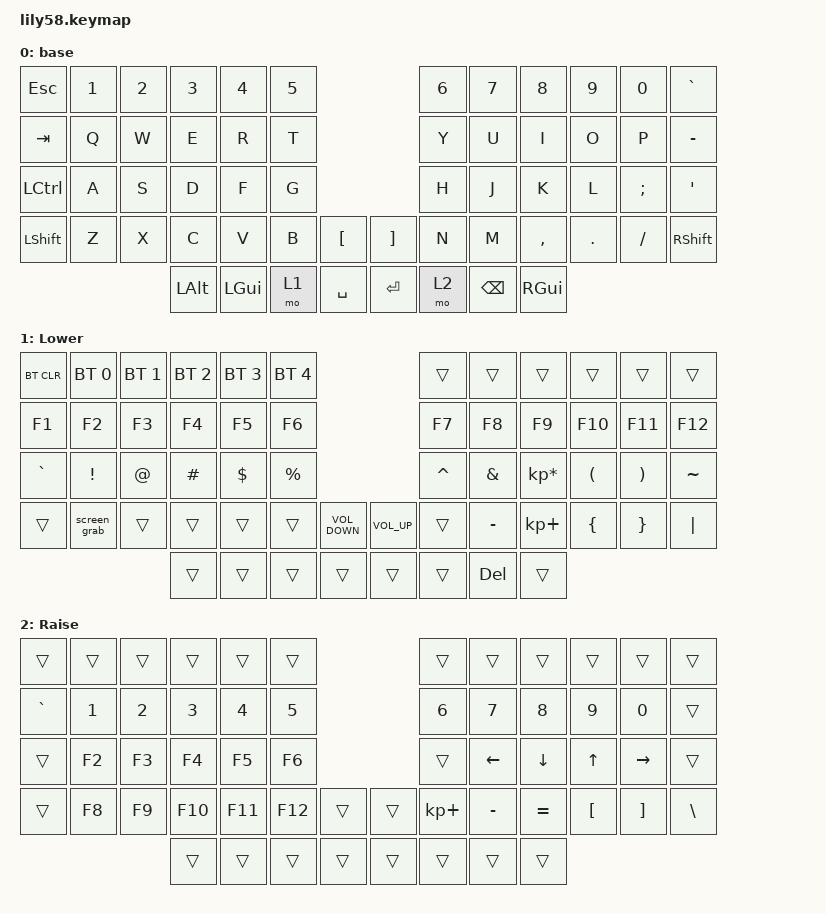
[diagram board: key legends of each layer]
/*
 * Copyright (c) 2020 The ZMK Contributors
 *
 * SPDX-License-Identifier: MIT
 */

#include <behaviors.dtsi>
#include <dt-bindings/zmk/bt.h>
#include <dt-bindings/zmk/keys.h>

/ {
    macros {
        screen_grab: screen_grab {
            compatible = "zmk,behavior-macro";
            #binding-cells = <0>;
            bindings = <&kp LG(LS(PRINTSCREEN))>;
            label = "SCREEN_GRAB";
        };
    };

    combos {
        compatible = "zmk,combos";

        dvorak_qwerty {
            bindings = <&tog 0>;
            key-positions = <51 52 55 56>;
        };
    };

    keymap {
        compatible = "zmk,keymap";

        DEFAULT_LAYER {
            bindings = <
&kp ESC    &kp N1  &kp N2  &kp N3    &kp N4    &kp N5                          &kp N6  &kp N7    &kp N8     &kp N9   &kp N0    &kp GRAVE
&kp TAB    &kp Q   &kp W   &kp E     &kp R     &kp T                           &kp Y   &kp U     &kp I      &kp O    &kp P     &kp MINUS
&kp LCTRL  &kp A   &kp S   &kp D     &kp F     &kp G                           &kp H   &kp J     &kp K      &kp L    &kp SEMI  &kp SQT
&kp LSHFT  &kp Z   &kp X   &kp C     &kp V     &kp B   &kp LBKT     &kp RBKT   &kp N   &kp M     &kp COMMA  &kp DOT  &kp FSLH  &kp RSHFT
                           &kp LALT  &kp LGUI  &mo 1   &kp SPACE    &kp ENTER  &mo 2   &kp BSPC  &kp RGUI
            >;

            label = "base";
        };

        lower_layer {
            // ------------------------------------------------------------------------------------------------------------
            // | BTCLR | BT1 | BT2 |  BT3 |  BT4 |  BT5 |                   |      |       |       |      |       |       |
            // |  F1   |  F2 |  F3 |  F4  |  F5  |  F6  |                   |  F7  |  F8   |  F9   |  F10 |  F11  |  F12  |
            // |   `   |  !  |  @  |  #   |  $   |  %   |                   |  ^   |  &    |  *    |  (   |   )   |   ~   |
            // |       |     |     |      |      |      |        |  |       |      |  _    |  +    |  {   |   }   |  "|"  |
            //                     |      |      |      |        |  |       |      |       |       |

            display-name = "Lower";
            bindings = <
&bt BT_CLR  &bt BT_SEL 0  &bt BT_SEL 1  &bt BT_SEL 2  &bt BT_SEL 3  &bt BT_SEL 4                                        &trans     &trans     &trans           &trans    &trans    &trans
&kp F1      &kp F2        &kp F3        &kp F4        &kp F5        &kp F6                                              &kp F7     &kp F8     &kp F9           &kp F10   &kp F11   &kp F12
&kp GRAVE   &kp EXCL      &kp AT        &kp HASH      &kp DOLLAR    &kp PRCNT                                           &kp CARET  &kp AMPS   &kp KP_MULTIPLY  &kp LPAR  &kp RPAR  &kp TILDE
&trans      &screen_grab  &trans        &trans        &trans        &trans        &kp C_VOLUME_DOWN    &kp C_VOLUME_UP  &trans     &kp MINUS  &kp KP_PLUS      &kp LBRC  &kp RBRC  &kp PIPE
                                        &trans        &trans        &trans        &trans               &trans           &trans     &kp DEL    &trans
            >;
        };

        raise_layer {
            // ------------------------------------------------------------------------------------------------------------
            // |       |     |     |      |      |      |                   |      |       |       |      |       |       |
            // |   `   |  1  |  2  |  3   |  4   |  5   |                   |  6   |   7   |   8   |  9   |   0   |       |
            // |   F1  |  F2 |  F3 |  F4  |  F5  |  F6  |                   |      |   <-  |   v   |  ^   |  ->   |       |
            // |   F7  |  F8 |  F9 |  F10 |  F11 |  F12 |        |  |       |  +   |   -   |   =   |  [   |   ]   |   \   |
            //                     |      |      |      |        |  |       |      |       |       |

            display-name = "Raise";
            bindings = <
&trans     &trans  &trans  &trans   &trans   &trans                     &trans       &trans     &trans     &trans    &trans     &trans
&kp GRAVE  &kp N1  &kp N2  &kp N3   &kp N4   &kp N5                     &kp N6       &kp N7     &kp N8     &kp N9    &kp N0     &trans
&trans     &kp F2  &kp F3  &kp F4   &kp F5   &kp F6                     &trans       &kp LEFT   &kp DOWN   &kp UP    &kp RIGHT  &trans
&trans     &kp F8  &kp F9  &kp F10  &kp F11  &kp F12  &trans    &trans  &kp KP_PLUS  &kp MINUS  &kp EQUAL  &kp LBKT  &kp RBKT   &kp BSLH
                           &trans   &trans   &trans   &trans    &trans  &trans       &trans     &trans
            >;
        };
    };
};
